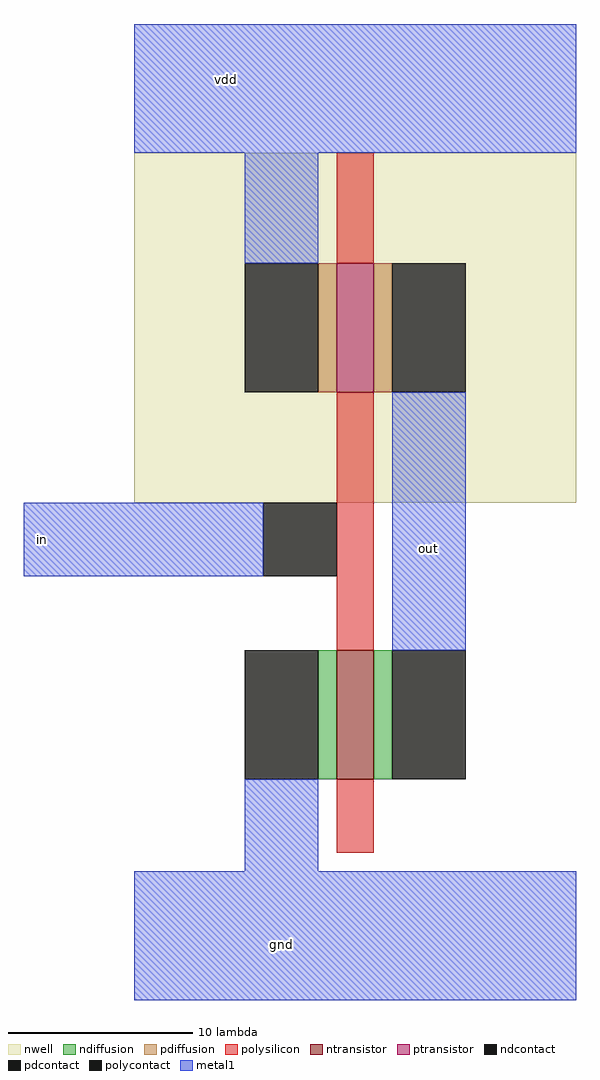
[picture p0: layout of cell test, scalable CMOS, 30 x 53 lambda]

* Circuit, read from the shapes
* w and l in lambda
.subckt test gnd in out vdd
M1 out in gnd VSUBS nfet w=7 l=2
M2 out in vdd n1 pfet w=7 l=2
.ends

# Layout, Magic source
magic
tech scmos
<< nwell >>
rect -2 -3 22 16
<< ntransistor >>
rect 9 -18 11 -11
<< ptransistor >>
rect 9 3 11 10
<< ndiffusion >>
rect 8 -18 9 -11
rect 11 -18 12 -11
<< pdiffusion >>
rect 8 3 9 10
rect 11 3 12 10
<< ndcontact >>
rect 4 -18 8 -11
rect 12 -18 16 -11
<< pdcontact >>
rect 4 3 8 10
rect 12 3 16 10
<< polysilicon >>
rect 9 10 11 16
rect 9 -11 11 3
rect 9 -22 11 -18
<< polycontact >>
rect 5 -7 9 -3
<< metal1 >>
rect -2 16 22 23
rect 4 10 8 16
rect -8 -7 5 -3
rect 12 -11 16 3
rect 4 -23 8 -18
rect -2 -30 22 -23
<< labels >>
rlabel metal1 -7 -5 -7 -5 3 in
rlabel metal1 3 -30 9 -24 1 gnd
rlabel metal1 12 -7 16 -4 1 out
rlabel metal1 0 17 6 23 5 vdd
<< end >>
